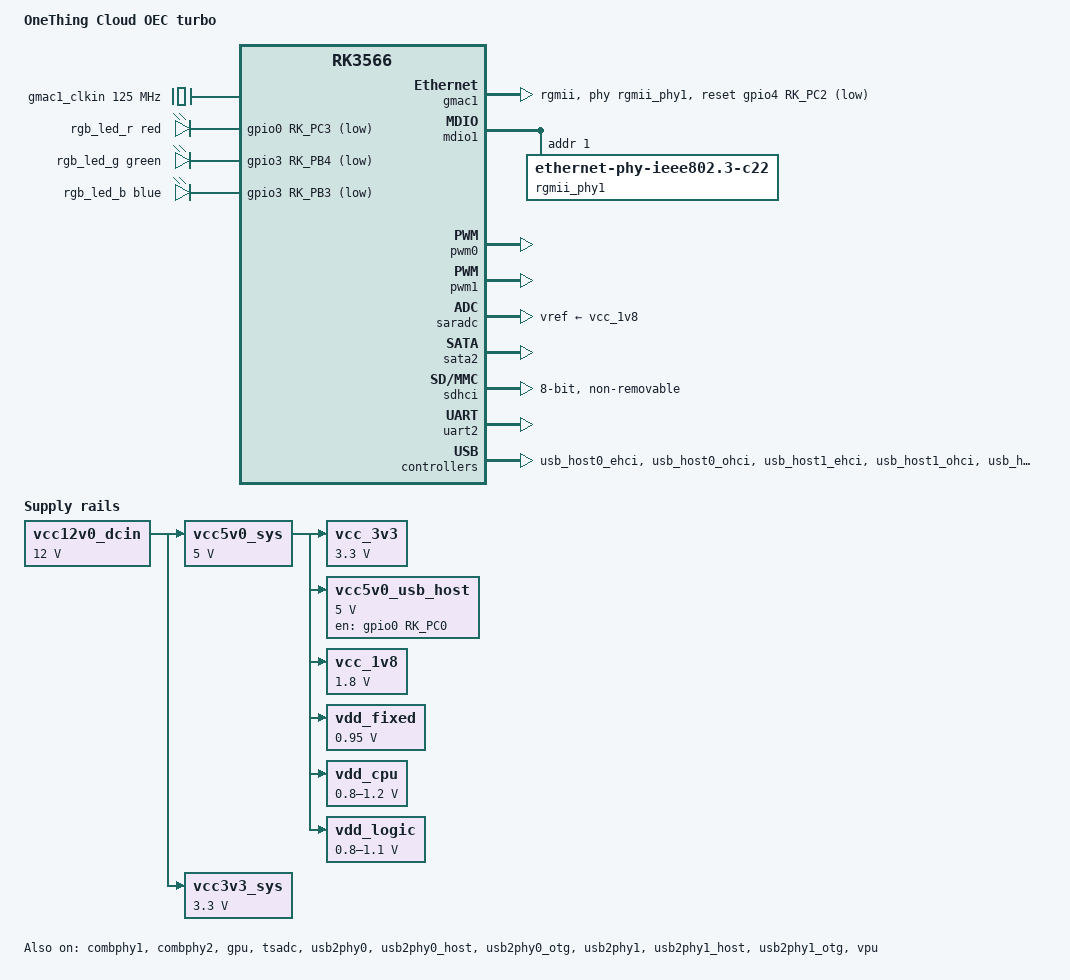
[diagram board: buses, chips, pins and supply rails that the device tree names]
// SPDX-License-Identifier: (GPL-2.0+ OR MIT)

/dts-v1/;

#include <dt-bindings/gpio/gpio.h>
#include <dt-bindings/leds/common.h>
#include <dt-bindings/pinctrl/rockchip.h>
#include "rk3566.dtsi"

/ {
	model = "OneThing Cloud OEC turbo";
	compatible = "onethingcloud,oec-turbo", "rockchip,rk3566";

	aliases {
		ethernet0 = &gmac1;
		mmc0 = &sdhci;
	};

	chosen: chosen {
		stdout-path = "serial2:1500000n8";
	};

	/* No hardware video output port */
	/delete-node/ display-subsystem;

	gmac1_clkin: external-gmac1-clock {
		compatible = "fixed-clock";
		clock-frequency = <125000000>;
		clock-output-names = "gmac1_clkin";
		#clock-cells = <0>;
	};

	leds {
		compatible = "gpio-leds";

		rgb_led_r: rgb-led-r {
			color = <LED_COLOR_ID_RED>;
			default-state = "off";
			function = LED_FUNCTION_STATUS;
			gpios = <&gpio0 RK_PC3 GPIO_ACTIVE_LOW>;
		};

		rgb_led_g: rgb-led-g {
			color = <LED_COLOR_ID_GREEN>;
			default-state = "on";
			function = LED_FUNCTION_STATUS;
			gpios = <&gpio3 RK_PB4 GPIO_ACTIVE_LOW>;
		};

		rgb_led_b: rgb-led-b {
			color = <LED_COLOR_ID_BLUE>;
			default-state = "off";
			function = LED_FUNCTION_STATUS;
			gpios = <&gpio3 RK_PB3 GPIO_ACTIVE_LOW>;
		};
	};

	vcc12v0_dcin: regulator-vcc12v0-dcin {
		compatible = "regulator-fixed";
		regulator-name = "vcc12v0_dcin";
		regulator-always-on;
		regulator-boot-on;
		regulator-min-microvolt = <12000000>;
		regulator-max-microvolt = <12000000>;
	};

	vcc5v0_sys: regulator-vcc5v0-sys {
		compatible = "regulator-fixed";
		regulator-name = "vcc5v0_sys";
		regulator-always-on;
		regulator-boot-on;
		regulator-min-microvolt = <5000000>;
		regulator-max-microvolt = <5000000>;
		vin-supply = <&vcc12v0_dcin>;
	};

	vcc3v3_sys: regulator-vcc3v3-sys {
		compatible = "regulator-fixed";
		regulator-name = "vcc3v3_sys";
		regulator-always-on;
		regulator-boot-on;
		regulator-min-microvolt = <3300000>;
		regulator-max-microvolt = <3300000>;
		vin-supply = <&vcc12v0_dcin>;
	};

	vcc_3v3: regulator-vcc-3v3 {
		compatible = "regulator-fixed";
		regulator-name = "vcc_3v3";
		regulator-always-on;
		regulator-boot-on;
		regulator-min-microvolt = <3300000>;
		regulator-max-microvolt = <3300000>;
		vin-supply = <&vcc5v0_sys>;
	};

	vcc5v0_usb_host: regulator-vcc5v0-usb-host {
		compatible = "regulator-fixed";
		enable-active-high;
		gpio = <&gpio0 RK_PC0 GPIO_ACTIVE_HIGH>;
		pinctrl-names = "default";
		pinctrl-0 = <&vcc5v0_usb_host_en>;
		regulator-name = "vcc5v0_usb_host";
		regulator-min-microvolt = <5000000>;
		regulator-max-microvolt = <5000000>;
		vin-supply = <&vcc5v0_sys>;
	};

	vcc_1v8: regulator-vcc-1v8 {
		compatible = "regulator-fixed";
		regulator-name = "vcc_1v8";
		regulator-always-on;
		regulator-boot-on;
		regulator-min-microvolt = <1800000>;
		regulator-max-microvolt = <1800000>;
		vin-supply = <&vcc5v0_sys>;
	};

	vdd_fixed: regulator-vdd-fixed {
		compatible = "regulator-fixed";
		regulator-name = "vdd_fixed";
		regulator-min-microvolt = <950000>;
		regulator-max-microvolt = <950000>;
		regulator-always-on;
		regulator-boot-on;
		vin-supply = <&vcc5v0_sys>;
	};

	vdd_cpu: regulator-vdd-cpu {
		compatible = "pwm-regulator";
		pwms = <&pwm0 0 5000 1>;
		regulator-name = "vdd_cpu";
		regulator-min-microvolt = <800000>;
		regulator-max-microvolt = <1200000>;
		regulator-always-on;
		regulator-boot-on;
		regulator-settling-time-up-us = <250>;
		pwm-supply = <&vcc5v0_sys>;
	};

	vdd_logic: regulator-vdd-logic {
		compatible = "pwm-regulator";
		pwms = <&pwm1 0 5000 1>;
		regulator-name = "vdd_logic";
		regulator-min-microvolt = <800000>;
		regulator-max-microvolt = <1100000>;
		regulator-always-on;
		regulator-boot-on;
		regulator-settling-time-up-us = <250>;
		pwm-supply = <&vcc5v0_sys>;
	};
};

&combphy1 {
	status = "okay";
};

&combphy2 {
	status = "okay";
};

&cpu0 {
	cpu-supply = <&vdd_cpu>;
};

&cpu1 {
	cpu-supply = <&vdd_cpu>;
};

&cpu2 {
	cpu-supply = <&vdd_cpu>;
};

&cpu3 {
	cpu-supply = <&vdd_cpu>;
};

&gmac1 {
	assigned-clocks = <&cru SCLK_GMAC1_RX_TX>, <&cru SCLK_GMAC1>;
	assigned-clock-parents = <&cru SCLK_GMAC1_RGMII_SPEED>, <&gmac1_clkin>;
	phy-mode = "rgmii";
	clock_in_out = "input";
	pinctrl-names = "default";
	pinctrl-0 = <&gmac1m1_miim
		    &gmac1m1_tx_bus2
		    &gmac1m1_rx_bus2
		    &gmac1m1_rgmii_clk
		    &gmac1m1_rgmii_bus
		    &gmac1m1_clkinout>;
	snps,reset-gpio = <&gpio4 RK_PC2 GPIO_ACTIVE_LOW>;
	snps,reset-active-low;
	/* Reset time is 20ms, 100ms for rtl8211f */
	snps,reset-delays-us = <0 20000 100000>;

	tx_delay = <0x4f>;
	rx_delay = <0x2d>;
	phy-handle = <&rgmii_phy1>;
	status = "okay";
};

&gpu {
	status = "okay";
};

&mdio1 {
	rgmii_phy1: ethernet-phy@1 {
		compatible = "ethernet-phy-ieee802.3-c22";
		reg = <0x1>;
	};
};

&pinctrl {
	usb {
		vcc5v0_usb_host_en: vcc5v0_usb_host_en {
			rockchip,pins = <0 RK_PC6 RK_FUNC_GPIO &pcfg_pull_none>;
		};
	};
};

&pmu_io_domains {
	pmuio1-supply = <&vcc_3v3>;
	pmuio2-supply = <&vcc_3v3>;
	vccio1-supply = <&vcc_1v8>;
	vccio3-supply = <&vcc_3v3>;
	vccio4-supply = <&vcc_1v8>;
	vccio5-supply = <&vcc_3v3>;
	vccio6-supply = <&vcc_1v8>;
	vccio7-supply = <&vcc_3v3>;
	status = "okay";
};

&pwm0 {
	status = "okay";
};

&pwm1 {
	status = "okay";
};

&saradc {
	vref-supply = <&vcc_1v8>;
	status = "okay";
};

&sata2 {
	status = "okay";
};

&sdhci {
	bus-width = <8>;
	mmc-hs200-1_8v;
	non-removable;
	status = "okay";
};

&tsadc {
	/* tshut mode 0:CRU 1:GPIO */
	rockchip,hw-tshut-mode = <1>;
	/* tshut polarity 0:LOW 1:HIGH */
	rockchip,hw-tshut-polarity = <0>;
	status = "okay";
};

&uart2 {
	status = "okay";
};

&usb_host0_ehci {
	status = "okay";
};

&usb_host0_ohci {
	status = "okay";
};

&usb_host1_ehci {
	status = "okay";
};

&usb_host1_ohci {
	status = "okay";
};

&usb_host1_xhci  {
	status = "okay";
};

&usb2phy0 {
	status = "okay";
};

&usb2phy0_host {
	phy-supply = <&vcc5v0_usb_host>;
	status = "okay";
};

&usb2phy0_otg {
	status = "okay";
};

&usb2phy1 {
	status = "okay";
};

&usb2phy1_host {
	phy-supply = <&vcc5v0_usb_host>;
	status = "okay";
};

&usb2phy1_otg {
	phy-supply = <&vcc5v0_usb_host>;
	status = "okay";
};

&vpu {
	status = "okay";
};

&vdpu_mmu {
	status = "okay";
};
